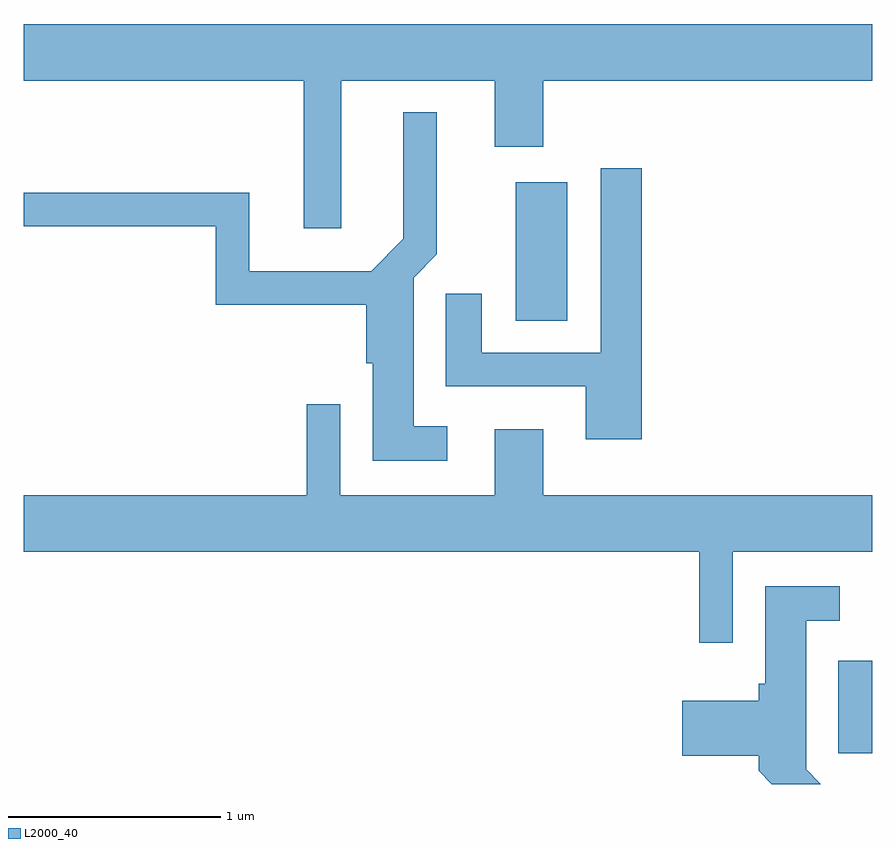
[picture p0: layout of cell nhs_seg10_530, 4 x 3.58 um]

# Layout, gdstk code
import gdstk
lib = gdstk.Library(unit=1e-6, precision=1e-09)
def R(c, l, rs):  # rectangles x0, y0, x1, y1
    for r in rs: c.add(gdstk.rectangle(r[:2], r[2:], *l))
def P(c, l, *ps):  # polygons
    for p in ps: c.add(gdstk.Polygon(p, *l))
L2000_40 = (2000, 40)

nhs_seg10_530 = lib.new_cell('nhs_seg10_530')
R(nhs_seg10_530, L2000_40, [(203.451,2190.668,203.611,2191.104), (201.931,2192.706,202.174,2193.359)])
P(nhs_seg10_530, L2000_40, [(201.109,2193.836),(201.831,2193.836),(201.831,2193.526),(202.059,2193.526),(202.059,2193.836),(203.611,2193.836),(203.611,2194.104),(199.611,2194.104),(199.611,2193.836),(200.931,2193.836),(200.931,2193.141),(201.109,2193.141)],
  [(201.608,2192.209),(201.449,2192.209),(201.449,2192.909),(201.559,2193.019),(201.559,2193.688),(201.401,2193.688),(201.401,2193.092),(201.249,2192.939),(200.674,2192.939),(200.674,2193.309),(199.611,2193.309),(199.611,2193.151),(200.516,2193.151),(200.516,2192.781),(201.226,2192.781),(201.226,2192.506),(201.256,2192.506),(201.256,2192.046),(201.608,2192.046)],
  [(202.524,2193.424),(202.331,2193.424),(202.331,2192.554),(201.769,2192.554),(201.769,2192.833),(201.601,2192.833),(201.601,2192.396),(202.261,2192.396),(202.261,2192.146),(202.524,2192.146)],
  [(202.954,2191.616),(203.611,2191.616),(203.611,2191.884),(202.059,2191.884),(202.059,2192.194),(201.831,2192.194),(201.831,2191.884),(201.104,2191.884),(201.104,2192.313),(200.946,2192.313),(200.946,2191.884),(199.611,2191.884),(199.611,2191.616),(202.796,2191.616),(202.796,2191.188),(202.954,2191.188)],
  [(203.299,2190.592),(203.299,2191.291),(203.458,2191.291),(203.458,2191.454),(203.106,2191.454),(203.106,2190.994),(203.076,2190.994),(203.076,2190.914),(202.716,2190.914),(202.716,2190.656),(203.076,2190.656),(203.076,2190.584),(203.138,2190.522),(203.369,2190.522)])

lib.write_gds('nhs_seg10_530.gds')
